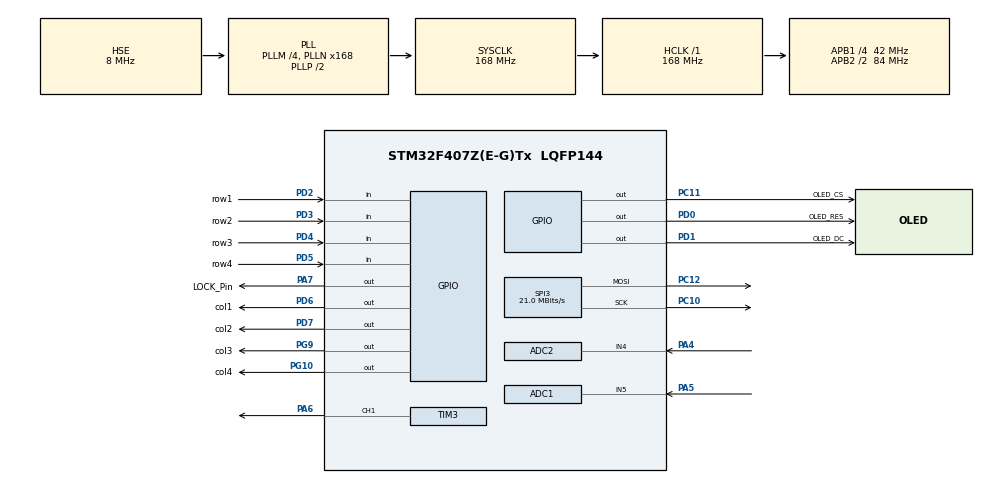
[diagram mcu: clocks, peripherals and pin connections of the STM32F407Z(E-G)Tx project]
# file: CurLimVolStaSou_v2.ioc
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ADC1.Channel-0\#ChannelRegularConversion=ADC_CHANNEL_5
ADC1.DMAContinuousRequests=ENABLE
ADC1.ExternalTrigConv=ADC_EXTERNALTRIGCONV_T2_TRGO
ADC1.NbrOfConversion=1
ADC1.NbrOfConversionFlag=1
ADC1.Rank-0\#ChannelRegularConversion=1
ADC1.SamplingTime-0\#ChannelRegularConversion=ADC_SAMPLETIME_480CYCLES
ADC1.master=1
ADC2.Channel-0\#ChannelRegularConversion=ADC_CHANNEL_4
ADC2.DMAContinuousRequests=ENABLE
ADC2.ExternalTrigConv=ADC_EXTERNALTRIGCONV_T2_TRGO
ADC2.NbrOfConversionFlag=1
ADC2.Rank-0\#ChannelRegularConversion=1
ADC2.SamplingTime-0\#ChannelRegularConversion=ADC_SAMPLETIME_3CYCLES
Dma.ADC1.0.Direction=DMA_PERIPH_TO_MEMORY
Dma.ADC1.0.FIFOMode=DMA_FIFOMODE_DISABLE
Dma.ADC1.0.Instance=DMA2_Stream0
Dma.ADC1.0.MemDataAlignment=DMA_MDATAALIGN_HALFWORD
Dma.ADC1.0.MemInc=DMA_MINC_ENABLE
Dma.ADC1.0.Mode=DMA_CIRCULAR
Dma.ADC1.0.PeriphDataAlignment=DMA_PDATAALIGN_HALFWORD
Dma.ADC1.0.PeriphInc=DMA_PINC_DISABLE
Dma.ADC1.0.Priority=DMA_PRIORITY_LOW
Dma.ADC2.1.Direction=DMA_PERIPH_TO_MEMORY
Dma.ADC2.1.FIFOMode=DMA_FIFOMODE_DISABLE
Dma.ADC2.1.Instance=DMA2_Stream2
Dma.ADC2.1.MemDataAlignment=DMA_MDATAALIGN_HALFWORD
Dma.ADC2.1.MemInc=DMA_MINC_ENABLE
Dma.ADC2.1.Mode=DMA_CIRCULAR
Dma.ADC2.1.PeriphDataAlignment=DMA_PDATAALIGN_HALFWORD
Dma.ADC2.1.PeriphInc=DMA_PINC_DISABLE
Dma.ADC2.1.Priority=DMA_PRIORITY_LOW
Dma.Request0=ADC1
Dma.Request1=ADC2
Mcu.Family=STM32F4
Mcu.Name=STM32F407Z(E-G)Tx
Mcu.Package=LQFP144
NVIC.DMA2_Stream0_IRQn=true\:1\:0\:true\:false\:true\:false\:true\:true
NVIC.DMA2_Stream2_IRQn=true\:1\:0\:true\:false\:true\:false\:true\:true
NVIC.PriorityGroup=NVIC_PRIORITYGROUP_4
NVIC.TIM4_IRQn=true\:0\:0\:true\:false\:true\:true\:true\:true
PA13.Mode=Serial_Wire
PA13.Signal=SYS_JTMS-SWDIO
PA14.Mode=Serial_Wire
PA14.Signal=SYS_JTCK-SWCLK
PA4.Signal=ADCx_IN4
PA5.Signal=ADCx_IN5
PA6.Signal=S_TIM3_CH1
PA7.GPIO_Label=LOCK_Pin
PA7.PinState=GPIO_PIN_RESET
PA7.Signal=GPIO_Output
PC10.Mode=TX_Only_Simplex_Unidirect_Master
PC10.Signal=SPI3_SCK
PC11.GPIO_Label=OLED_CS
PC11.Signal=GPIO_Output
PC12.Mode=TX_Only_Simplex_Unidirect_Master
PC12.Signal=SPI3_MOSI
PC14-OSC32_IN.Mode=LSE-External-Oscillator
PC14-OSC32_IN.Signal=RCC_OSC32_IN
PC15-OSC32_OUT.Mode=LSE-External-Oscillator
PC15-OSC32_OUT.Signal=RCC_OSC32_OUT
PD0.GPIO_Label=OLED_RES
PD0.Signal=GPIO_Output
PD1.GPIO_Label=OLED_DC
PD1.Signal=GPIO_Output
PD2.GPIO_Label=row1
PD2.GPIO_PuPd=GPIO_PULLUP
PD2.Signal=GPIO_Input
PD3.GPIO_Label=row2
PD3.GPIO_PuPd=GPIO_PULLUP
PD3.Signal=GPIO_Input
PD4.GPIO_Label=row3
PD4.GPIO_PuPd=GPIO_PULLUP
PD4.Signal=GPIO_Input
PD5.GPIO_Label=row4
PD5.GPIO_PuPd=GPIO_PULLUP
PD5.Signal=GPIO_Input
PD6.GPIO_Label=col1
PD6.GPIO_Speed=GPIO_SPEED_FREQ_MEDIUM
PD6.Signal=GPIO_Output
PD7.GPIO_Label=col2
PD7.GPIO_Speed=GPIO_SPEED_FREQ_MEDIUM
PD7.Signal=GPIO_Output
PG10.GPIO_Label=col4
PG10.GPIO_Speed=GPIO_SPEED_FREQ_MEDIUM
PG10.Signal=GPIO_Output
PG9.GPIO_Label=col3
PG9.GPIO_Speed=GPIO_SPEED_FREQ_MEDIUM
PG9.Signal=GPIO_Output
PH0-OSC_IN.Mode=HSE-External-Oscillator
PH0-OSC_IN.Signal=RCC_OSC_IN
PH1-OSC_OUT.Mode=HSE-External-Oscillator
PH1-OSC_OUT.Signal=RCC_OSC_OUT
ProjectManager.HeapSize=0x200
ProjectManager.StackSize=0x400
ProjectManager.TargetToolchain=STM32CubeIDE
RCC.48MHZClocksFreq_Value=84000000
RCC.AHBFreq_Value=168000000
RCC.APB1CLKDivider=RCC_HCLK_DIV4
RCC.APB1Freq_Value=42000000
RCC.APB1TimFreq_Value=84000000
RCC.APB2CLKDivider=RCC_HCLK_DIV2
RCC.APB2Freq_Value=84000000
RCC.APB2TimFreq_Value=168000000
RCC.CortexFreq_Value=168000000
RCC.HCLKFreq_Value=168000000
RCC.HSE_VALUE=8000000
RCC.HSI_VALUE=16000000
RCC.PLLM=4
RCC.PLLN=168
RCC.PLLSourceVirtual=RCC_PLLSOURCE_HSE
RCC.SYSCLKFreq_VALUE=168000000
RCC.SYSCLKSource=RCC_SYSCLKSOURCE_PLLCLK
RCC.VCOOutputFreq_Value=336000000
RCC.VDD_VALUE=3.3
SH.ADCx_IN4.0=ADC2_IN4,IN4
SH.ADCx_IN5.0=ADC1_IN5,IN5
SH.S_TIM3_CH1.0=TIM3_CH1,PWM Generation1 CH1
SPI3.CalculateBaudRate=21.0 MBits/s
SPI3.Direction=SPI_DIRECTION_2LINES
SPI3.Mode=SPI_MODE_MASTER
SPI3.VirtualType=VM_MASTER
STMicroelectronics.X-CUBE-ALGOBUILD.1.3.0.LibraryCcDSPOoLibraryJjDSPOoLibrary=true
TIM2.Period=700-1
TIM2.Prescaler=30-1
TIM2.TIM_MasterOutputTrigger=TIM_TRGO_UPDATE
TIM3.Channel-PWM\ Generation1\ CH1=TIM_CHANNEL_1
TIM3.Period=2100-1
TIM3.Prescaler=2-1
TIM3.Pulse-PWM\ Generation1\ CH1=100
TIM4.AutoReloadPreload=TIM_AUTORELOAD_PRELOAD_ENABLE
TIM4.Period=450-1
TIM4.Prescaler=8400-1
VP_STMicroelectronics.X-CUBE-ALGOBUILD_VS_DSPOoLibraryJjLibrary_1.3.0_1.3.0.Mode=DSPOoLibraryJjLibrary
VP_TIM2_VS_ClockSourceINT.Mode=Internal
VP_TIM4_VS_ClockSourceINT.Mode=Internal
board=custom

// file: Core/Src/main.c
/* USER CODE BEGIN Header */
/**
  ******************************************************************************
  * @file           : main.c
  * @brief          : Main program body
  ******************************************************************************
  * @attention
  *
  * Copyright (c) 2022 STMicroelectronics.
  * All rights reserved.
  *
  * This software is licensed under terms that can be found in the LICENSE file
  * in the root directory of this software component.
  * If no LICENSE file comes with this software, it is provided AS-IS.
  *
  ******************************************************************************
  */
/* USER CODE END Header */
#include "main.h"
#include "adc.h"
#include "dma.h"
#include "spi.h"
#include "tim.h"
#include "gpio.h"

/* USER CODE BEGIN Includes */
#include "base.h"
#include "oled.h"
#include "bmp.h"
#include "pid.h"
#include "arm_math.h"
#include "arm_common_tables.h"
#include "arm_const_structs.h"
#include "key.h"
/* USER CODE END Includes */

void SystemClock_Config(void);

int main(void)
{

  /* MCU Configuration--------------------------------------------------------*/

  /* Reset of all peripherals, Initializes the Flash interface and the Systick. */
  HAL_Init();

  /* Configure the system clock */
  SystemClock_Config();

  /* Initialize all configured peripherals */
  MX_GPIO_Init();
  MX_SPI3_Init();
  MX_DMA_Init();
  MX_ADC1_Init();
  MX_TIM2_Init();
  MX_ADC2_Init();
  MX_TIM3_Init();
  MX_TIM4_Init();
  /* USER CODE BEGIN 2 */
  delay_init(168);
  OLED_Init();
  OLED_ColorTurn(0);
  OLED_DisplayTurn(0);
  OLED_Refresh();
  OLED_Clear();
  OLED_Refresh();

  UI();		//oled屏UI界面

  HAL_TIM_Base_Start_IT(&htim4);		//按键定时器中�???

  //pid初始�???
  pidInit();
  //�???启AD转换时钟
  HAL_TIM_Base_Start(&htim2);
  //�???启ADC-DMA传输
  HAL_ADC_Start_DMA(&hadc1,(uint32_t *)adc_raw,BUF_LEN);
  HAL_ADC_Start_DMA(&hadc2,(uint32_t *)adc2_raw,BUF_LEN);
  //�???启PWM输出
  HAL_TIM_PWM_Start(&htim3, TIM_CHANNEL_1);
  delay_ms(100);
  UNLOCK;		//解封

  /* USER CODE END 2 */

  /* Infinite loop */
  while (1)
  {

    /* USER CODE BEGIN 3 */
	core();
  }
  /* USER CODE END 3 */
}

void SystemClock_Config(void)
{
  RCC_OscInitTypeDef RCC_OscInitStruct = {0};
  RCC_ClkInitTypeDef RCC_ClkInitStruct = {0};

  /** Configure the main internal regulator output voltage
  */
  __HAL_RCC_PWR_CLK_ENABLE();
  __HAL_PWR_VOLTAGESCALING_CONFIG(PWR_REGULATOR_VOLTAGE_SCALE1);

  /** Initializes the RCC Oscillators according to the specified parameters
  * in the RCC_OscInitTypeDef structure.
  */
  RCC_OscInitStruct.OscillatorType = RCC_OSCILLATORTYPE_HSE;
  RCC_OscInitStruct.HSEState = RCC_HSE_ON;
  RCC_OscInitStruct.PLL.PLLState = RCC_PLL_ON;
  RCC_OscInitStruct.PLL.PLLSource = RCC_PLLSOURCE_HSE;
  RCC_OscInitStruct.PLL.PLLM = 4;
  RCC_OscInitStruct.PLL.PLLN = 168;
  RCC_OscInitStruct.PLL.PLLP = RCC_PLLP_DIV2;
  RCC_OscInitStruct.PLL.PLLQ = 4;
  if (HAL_RCC_OscConfig(&RCC_OscInitStruct) != HAL_OK)
  {
    Error_Handler();
  }

  /** Initializes the CPU, AHB and APB buses clocks
  */
  RCC_ClkInitStruct.ClockType = RCC_CLOCKTYPE_HCLK|RCC_CLOCKTYPE_SYSCLK
                              |RCC_CLOCKTYPE_PCLK1|RCC_CLOCKTYPE_PCLK2;
  RCC_ClkInitStruct.SYSCLKSource = RCC_SYSCLKSOURCE_PLLCLK;
  RCC_ClkInitStruct.AHBCLKDivider = RCC_SYSCLK_DIV1;
  RCC_ClkInitStruct.APB1CLKDivider = RCC_HCLK_DIV4;
  RCC_ClkInitStruct.APB2CLKDivider = RCC_HCLK_DIV2;

  if (HAL_RCC_ClockConfig(&RCC_ClkInitStruct, FLASH_LATENCY_5) != HAL_OK)
  {
    Error_Handler();
  }
}

void Error_Handler(void)
{
  __disable_irq();
  while (1)
  {
  }
}
